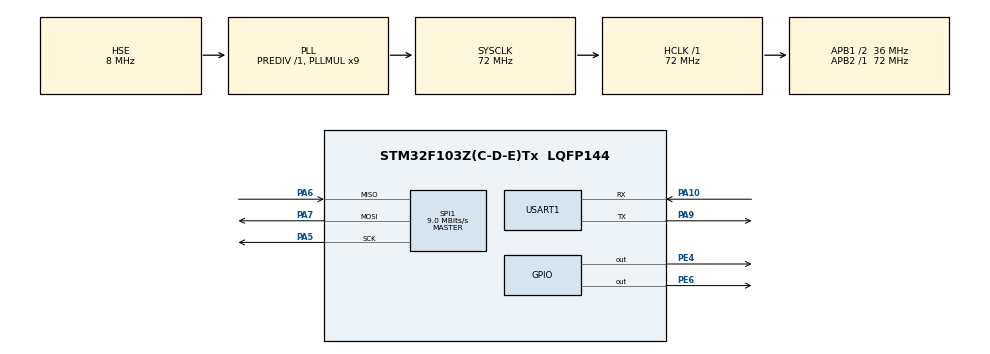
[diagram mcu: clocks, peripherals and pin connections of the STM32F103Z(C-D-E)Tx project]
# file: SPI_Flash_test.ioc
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Mcu.Family=STM32F1
Mcu.Name=STM32F103Z(C-D-E)Tx
Mcu.Package=LQFP144
NVIC.PriorityGroup=NVIC_PRIORITYGROUP_4
OSC_IN.Mode=HSE-External-Oscillator
OSC_IN.Signal=RCC_OSC_IN
OSC_OUT.Mode=HSE-External-Oscillator
OSC_OUT.Signal=RCC_OSC_OUT
PA10.Mode=Asynchronous
PA10.Signal=USART1_RX
PA13.Mode=Serial_Wire
PA13.Signal=SYS_JTMS-SWDIO
PA14.Mode=Serial_Wire
PA14.Signal=SYS_JTCK-SWCLK
PA5.Mode=Full_Duplex_Master
PA5.Signal=SPI1_SCK
PA6.Mode=Full_Duplex_Master
PA6.Signal=SPI1_MISO
PA7.Mode=Full_Duplex_Master
PA7.Signal=SPI1_MOSI
PA9.Mode=Asynchronous
PA9.Signal=USART1_TX
PE4.PinState=GPIO_PIN_SET
PE4.Signal=GPIO_Output
PE6.PinState=GPIO_PIN_SET
PE6.Signal=GPIO_Output
ProjectManager.HeapSize=0x200
ProjectManager.StackSize=0x400
ProjectManager.TargetToolchain=MDK-ARM V5.32
RCC.AHBFreq_Value=72000000
RCC.APB1CLKDivider=RCC_HCLK_DIV2
RCC.APB1Freq_Value=36000000
RCC.APB1TimFreq_Value=72000000
RCC.APB2Freq_Value=72000000
RCC.APB2TimFreq_Value=72000000
RCC.HCLKFreq_Value=72000000
RCC.PLLMUL=RCC_PLL_MUL9
RCC.PLLSourceVirtual=RCC_PLLSOURCE_HSE
RCC.SYSCLKFreq_VALUE=72000000
RCC.SYSCLKSource=RCC_SYSCLKSOURCE_PLLCLK
RCC.USBFreq_Value=72000000
SPI1.BaudRatePrescaler=SPI_BAUDRATEPRESCALER_8
SPI1.CalculateBaudRate=9.0 MBits/s
SPI1.Direction=SPI_DIRECTION_2LINES
SPI1.Mode=SPI_MODE_MASTER
SPI1.VirtualType=VM_MASTER
USART1.Parity=PARITY_ODD
USART1.VirtualMode=VM_ASYNC
USART1.WordLength=WORDLENGTH_9B
board=custom

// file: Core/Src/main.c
/* USER CODE BEGIN Header */
/**
  ******************************************************************************
  * @file           : main.c
  * @brief          : Main program body
  ******************************************************************************
  * @attention
  *
  * Copyright (c) 2026 STMicroelectronics.
  * All rights reserved.
  *
  * This software is licensed under terms that can be found in the LICENSE file
  * in the root directory of this software component.
  * If no LICENSE file comes with this software, it is provided AS-IS.
  *
  ******************************************************************************
  */
/* USER CODE END Header */
#include "main.h"

/* USER CODE BEGIN Includes */
#include "BSP_Usart_Redir.h"
/* USER CODE END Includes */

SPI_HandleTypeDef hspi1;

UART_HandleTypeDef huart1;

void SystemClock_Config(void);
static void MX_GPIO_Init(void);
static void MX_SPI1_Init(void);
static void MX_USART1_UART_Init(void);

int main(void)
{

  /* MCU Configuration--------------------------------------------------------*/

  /* Reset of all peripherals, Initializes the Flash interface and the Systick. */
  HAL_Init();

  /* USER CODE BEGIN Init */
  BSP_Usart_Init(&huart1);
  /* USER CODE END Init */

  /* Configure the system clock */
  SystemClock_Config();

  /* Initialize all configured peripherals */
  MX_GPIO_Init();
  MX_SPI1_Init();
  MX_USART1_UART_Init();
  /* USER CODE BEGIN 2 */
  void W25Q64_CS_Enable();
  void W25Q64_CS_Disable();
  uint32_t W25Q64_Read_ID_version1();
  uint32_t W25Q64_Read_ID();
  /* USER CODE END 2 */

  /* Infinite loop */
  /* USER CODE BEGIN WHILE */
  uint32_t id = W25Q64_Read_ID_version1();
  printf("id: 0x%x\n", id);
  while (1)
  {
    /* USER CODE END WHILE */

  }
}

void SystemClock_Config(void)
{
  RCC_OscInitTypeDef RCC_OscInitStruct = {0};
  RCC_ClkInitTypeDef RCC_ClkInitStruct = {0};

  /** Initializes the RCC Oscillators according to the specified parameters
  * in the RCC_OscInitTypeDef structure.
  */
  RCC_OscInitStruct.OscillatorType = RCC_OSCILLATORTYPE_HSE;
  RCC_OscInitStruct.HSEState = RCC_HSE_ON;
  RCC_OscInitStruct.HSEPredivValue = RCC_HSE_PREDIV_DIV1;
  RCC_OscInitStruct.HSIState = RCC_HSI_ON;
  RCC_OscInitStruct.PLL.PLLState = RCC_PLL_ON;
  RCC_OscInitStruct.PLL.PLLSource = RCC_PLLSOURCE_HSE;
  RCC_OscInitStruct.PLL.PLLMUL = RCC_PLL_MUL9;
  if (HAL_RCC_OscConfig(&RCC_OscInitStruct) != HAL_OK)
  {
    Error_Handler();
  }

  /** Initializes the CPU, AHB and APB buses clocks
  */
  RCC_ClkInitStruct.ClockType = RCC_CLOCKTYPE_HCLK|RCC_CLOCKTYPE_SYSCLK
                              |RCC_CLOCKTYPE_PCLK1|RCC_CLOCKTYPE_PCLK2;
  RCC_ClkInitStruct.SYSCLKSource = RCC_SYSCLKSOURCE_PLLCLK;
  RCC_ClkInitStruct.AHBCLKDivider = RCC_SYSCLK_DIV1;
  RCC_ClkInitStruct.APB1CLKDivider = RCC_HCLK_DIV2;
  RCC_ClkInitStruct.APB2CLKDivider = RCC_HCLK_DIV1;

  if (HAL_RCC_ClockConfig(&RCC_ClkInitStruct, FLASH_LATENCY_2) != HAL_OK)
  {
    Error_Handler();
  }
}

static void MX_SPI1_Init(void)
{

  /* SPI1 parameter configuration*/
  hspi1.Instance = SPI1;
  hspi1.Init.Mode = SPI_MODE_MASTER;
  hspi1.Init.Direction = SPI_DIRECTION_2LINES;
  hspi1.Init.DataSize = SPI_DATASIZE_8BIT;
  hspi1.Init.CLKPolarity = SPI_POLARITY_LOW;
  hspi1.Init.CLKPhase = SPI_PHASE_1EDGE;
  hspi1.Init.NSS = SPI_NSS_SOFT;
  hspi1.Init.BaudRatePrescaler = SPI_BAUDRATEPRESCALER_8;
  hspi1.Init.FirstBit = SPI_FIRSTBIT_MSB;
  hspi1.Init.TIMode = SPI_TIMODE_DISABLE;
  hspi1.Init.CRCCalculation = SPI_CRCCALCULATION_DISABLE;
  hspi1.Init.CRCPolynomial = 10;
  if (HAL_SPI_Init(&hspi1) != HAL_OK)
  {
    Error_Handler();
  }

}

static void MX_USART1_UART_Init(void)
{

  huart1.Instance = USART1;
  huart1.Init.BaudRate = 115200;
  huart1.Init.WordLength = UART_WORDLENGTH_9B;
  huart1.Init.StopBits = UART_STOPBITS_1;
  huart1.Init.Parity = UART_PARITY_ODD;
  huart1.Init.Mode = UART_MODE_TX_RX;
  huart1.Init.HwFlowCtl = UART_HWCONTROL_NONE;
  huart1.Init.OverSampling = UART_OVERSAMPLING_16;
  if (HAL_UART_Init(&huart1) != HAL_OK)
  {
    Error_Handler();
  }

}

static void MX_GPIO_Init(void)
{
  GPIO_InitTypeDef GPIO_InitStruct = {0};

  /* GPIO Ports Clock Enable */
  __HAL_RCC_GPIOE_CLK_ENABLE();
  __HAL_RCC_GPIOA_CLK_ENABLE();

  /*Configure GPIO pin Output Level */
  HAL_GPIO_WritePin(GPIOE, GPIO_PIN_4|GPIO_PIN_6, GPIO_PIN_SET);

  /*Configure GPIO pins : PE4 PE6 */
  GPIO_InitStruct.Pin = GPIO_PIN_4|GPIO_PIN_6;
  GPIO_InitStruct.Mode = GPIO_MODE_OUTPUT_PP;
  GPIO_InitStruct.Pull = GPIO_NOPULL;
  GPIO_InitStruct.Speed = GPIO_SPEED_FREQ_LOW;
  HAL_GPIO_Init(GPIOE, &GPIO_InitStruct);

}

/* USER CODE BEGIN 4 */
void W25Q64_CS_Enable()
{
  HAL_GPIO_WritePin(GPIOE, GPIO_PIN_6, GPIO_PIN_RESET);
}

void W25Q64_CS_Disable()
{
  HAL_GPIO_WritePin(GPIOE, GPIO_PIN_6, GPIO_PIN_SET);
}

// Version1
uint32_t W25Q64_Read_ID_version1()
{
  uint8_t cmd = 0x9F;
  uint8_t tx_buffer[4] = {cmd, 0x00, 0x00, 0x00};
  uint8_t rx_buffer[4] = {0x00, 0x00, 0x00, 0x00};
  uint32_t size = sizeof(tx_buffer) / sizeof(tx_buffer[0]);
  //进行片选
  W25Q64_CS_Enable();
  HAL_StatusTypeDef state = HAL_OK;
  state = HAL_SPI_TransmitReceive(&hspi1, tx_buffer, rx_buffer, size, HAL_MAX_DELAY);
  if (state != HAL_OK)
  {
    printf(">> SPI TransmitReceive Error <<\n");
    goto EXIT;
  }
  uint32_t id = (rx_buffer[1] << 16) | (rx_buffer[2] << 8) | (rx_buffer[3]);
EXIT:
  W25Q64_CS_Disable();
  return id;
}

// Version2
uint32_t W25Q64_Read_ID()
{
  uint8_t cmd = 0x9F;
  HAL_StatusTypeDef state = HAL_OK;
  W25Q64_CS_Enable();
  state = HAL_SPI_Transmit(&hspi1, &cmd, 1, HAL_MAX_DELAY);
  if (state != HAL_OK)
  {
    printf(">> SPI Transmit Error <<\n");
    goto EXIT;
  }
  uint8_t id[3] = {0};
  state = HAL_SPI_Receive(&hspi1, id, 3, HAL_MAX_DELAY);
  if (state != HAL_OK)
  {
    printf(">> SPI Transmit Error <<\n");
    goto EXIT;
  }
EXIT:
  W25Q64_CS_Disable();
  return ((id[0] << 16) | (id[1] << 8) | (id[2]));
}
/* USER CODE END 4 */

void Error_Handler(void)
{
  __disable_irq();
  while (1)
  {
  }
}
